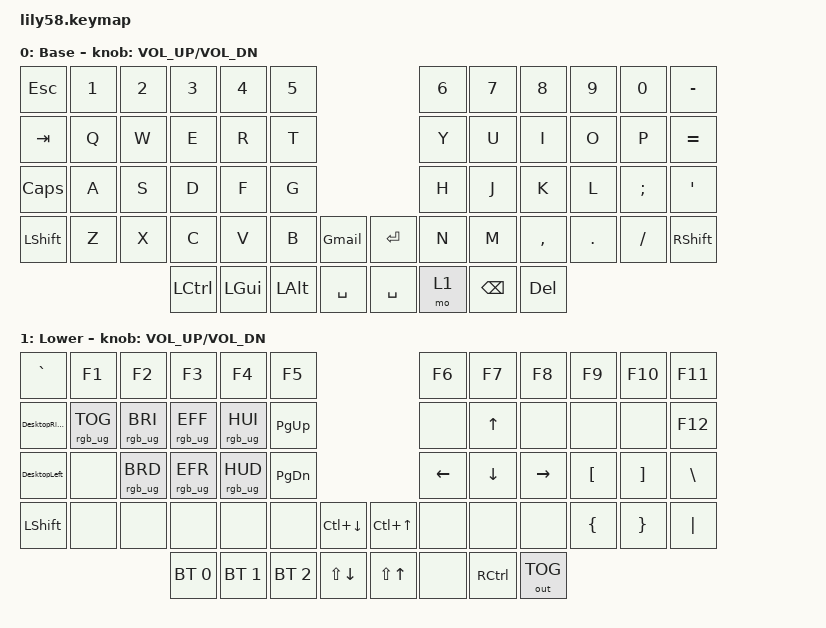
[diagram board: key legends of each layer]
/*
 * Copyright (c) 2020 The ZMK Contributors
 *
 * SPDX-License-Identifier: MIT
 */

#include <behaviors.dtsi>
#include <dt-bindings/zmk/bt.h>
#include <dt-bindings/zmk/keys.h>
#include <dt-bindings/zmk/outputs.h>
#include <dt-bindings/zmk/rgb.h>

/ {
    macros {
        DesktopRight: DesktopRight {
            compatible = "zmk,behavior-macro";
            #binding-cells = <0>;
            bindings = <&kp LC(LEFT_WIN) &kp RIGHT>;
            label = "DESKTOPRIGHT";
        };

        DesktopLeft: DesktopLeft {
            compatible = "zmk,behavior-macro";
            #binding-cells = <0>;
            bindings = <&kp LC(LEFT_WIN) &kp LEFT>;
            label = "DESKTOPLEFT";
        };
    };

    keymap {
        compatible = "zmk,keymap";

        default_layer {
            // ------------------------------------------------------------------------------------------------------------
            // |  ESC  |  1  |  2  |  3   |  4   |  5   |                   |  6   |  7    |  8    |  9   |   0   |   `   |
            // |  TAB  |  Q  |  W  |  E   |  R   |  T   |                   |  Y   |  U    |  I    |  O   |   P   |   -   |
            // |  CTRL |  A  |  S  |  D   |  F   |  G   |                   |  H   |  J    |  K    |  L   |   ;   |   '   |
            // | SHIFT |  Z  |  X  |  C   |  V   |  B   |   "["  |  |  "]"  |  N   |  M    |  ,    |  .   |   /   | SHIFT |
            //                     | ALT  | GUI  | LOWER|  SPACE |  | ENTER | RAISE| BSPC  | GUI   |

            display-name = "Base";
            bindings = <
&kp ESCAPE  &kp N1  &kp N2  &kp N3            &kp N4    &kp N5                                &kp N6  &kp N7         &kp N8      &kp N9      &kp N0     &kp MINUS
&kp TAB     &kp Q   &kp W   &kp E             &kp R     &kp T                                 &kp Y   &kp U          &kp I       &kp O       &kp P      &kp EQUAL
&kp CLCK    &kp A   &kp S   &kp D             &kp F     &kp G                                 &kp H   &kp J          &kp K       &kp L       &kp SEMI   &kp SQT
&kp LSHFT   &kp Z   &kp X   &kp C             &kp V     &kp B         &Gmail       &kp ENTER  &kp N   &kp M          &kp COMMA   &kp PERIOD  &kp SLASH  &kp RSHFT
                            &kp LEFT_CONTROL  &kp LGUI  &kp LEFT_ALT  &kp SPACE    &kp SPACE  &mo 1   &kp BACKSPACE  &kp DELETE
            >;

            sensor-bindings = <&inc_dec_kp C_VOL_UP C_VOL_DN>;
        };

        lower_layer {
            // ------------------------------------------------------------------------------------------------------------
            // | BTCLR | BT1 | BT2 |  BT3 |  BT4 |  BT5 |                   |      |       |       |      |       |       |
            // |  F1   |  F2 |  F3 |  F4  |  F5  |  F6  |                   |  F7  |  F8   |  F9   |  F10 |  F11  |  F12  |
            // |   `   |  !  |  @  |  #   |  $   |  %   |                   |  ^   |  &    |  *    |  (   |   )   |   ~   |
            // |       |     |     |      |      |      |        |  |       |      |  _    |  +    |  {   |   }   |  "|"  |
            //                     |      |      |      |        |  |       |      |       |       |

            display-name = "Lower";
            bindings = <
&kp GRAVE       &kp F1           &kp F2           &kp F3           &kp F4           &kp F5                                     &kp F6    &kp F7             &kp F8        &kp F9            &kp F10            &kp F11
&DesktopRight   &rgb_ug RGB_TOG  &rgb_ug RGB_BRI  &rgb_ug RGB_EFF  &rgb_ug RGB_HUI  &kp PAGE_UP                                &none     &kp UP             &none         &none             &none              &kp F12
&DesktopLeft    &none            &rgb_ug RGB_BRD  &rgb_ug RGB_EFR  &rgb_ug RGB_HUD  &kp PAGE_DOWN                              &kp LEFT  &kp DOWN           &kp RIGHT     &kp LEFT_BRACKET  &kp RIGHT_BRACKET  &kp BACKSLASH
&kp LEFT_SHIFT  &none            &none            &none            &none            &none          &kp LC(DOWN)    &kp LC(UP)  &none     &none              &none         &kp LBRC          &kp RBRC           &kp PIPE
                                                  &bt BT_SEL 0     &bt BT_SEL 1     &bt BT_SEL 2   &kp LS(DOWN)    &kp LS(UP)  &none     &kp RIGHT_CONTROL  &out OUT_TOG
            >;

            sensor-bindings = <&inc_dec_kp C_VOL_UP C_VOL_DN>;
        };
    };
};
